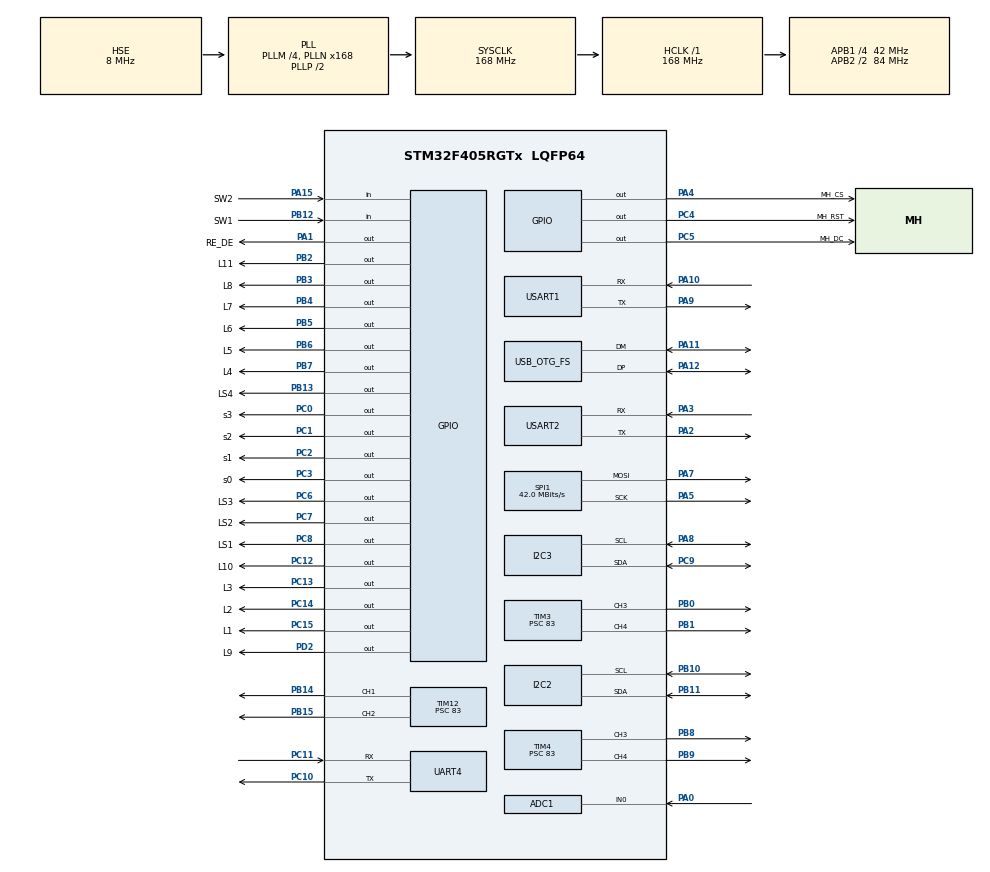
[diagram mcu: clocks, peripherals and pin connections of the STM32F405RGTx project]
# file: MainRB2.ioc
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ADC1.Channel-0\#ChannelRegularConversion=ADC_CHANNEL_0
ADC1.NbrOfConversionFlag=1
ADC1.Rank-0\#ChannelRegularConversion=1
ADC1.SamplingTime-0\#ChannelRegularConversion=ADC_SAMPLETIME_84CYCLES
ADC1.master=1
Dma.ADC1.0.Direction=DMA_PERIPH_TO_MEMORY
Dma.ADC1.0.FIFOMode=DMA_FIFOMODE_DISABLE
Dma.ADC1.0.Instance=DMA2_Stream0
Dma.ADC1.0.MemDataAlignment=DMA_MDATAALIGN_HALFWORD
Dma.ADC1.0.MemInc=DMA_MINC_DISABLE
Dma.ADC1.0.Mode=DMA_NORMAL
Dma.ADC1.0.PeriphDataAlignment=DMA_PDATAALIGN_HALFWORD
Dma.ADC1.0.PeriphInc=DMA_PINC_DISABLE
Dma.ADC1.0.Priority=DMA_PRIORITY_VERY_HIGH
Dma.Request0=ADC1
Dma.Request1=UART4_RX
Dma.Request2=UART4_TX
Dma.Request3=USART2_RX
Dma.Request4=USART2_TX
Dma.UART4_RX.1.Direction=DMA_PERIPH_TO_MEMORY
Dma.UART4_RX.1.FIFOMode=DMA_FIFOMODE_DISABLE
Dma.UART4_RX.1.Instance=DMA1_Stream2
Dma.UART4_RX.1.MemDataAlignment=DMA_MDATAALIGN_BYTE
Dma.UART4_RX.1.MemInc=DMA_MINC_ENABLE
Dma.UART4_RX.1.Mode=DMA_CIRCULAR
Dma.UART4_RX.1.PeriphDataAlignment=DMA_PDATAALIGN_BYTE
Dma.UART4_RX.1.PeriphInc=DMA_PINC_DISABLE
Dma.UART4_RX.1.Priority=DMA_PRIORITY_MEDIUM
Dma.UART4_TX.2.Direction=DMA_MEMORY_TO_PERIPH
Dma.UART4_TX.2.FIFOMode=DMA_FIFOMODE_DISABLE
Dma.UART4_TX.2.Instance=DMA1_Stream4
Dma.UART4_TX.2.MemDataAlignment=DMA_MDATAALIGN_BYTE
Dma.UART4_TX.2.MemInc=DMA_MINC_ENABLE
Dma.UART4_TX.2.Mode=DMA_NORMAL
Dma.UART4_TX.2.PeriphDataAlignment=DMA_PDATAALIGN_BYTE
Dma.UART4_TX.2.PeriphInc=DMA_PINC_DISABLE
Dma.UART4_TX.2.Priority=DMA_PRIORITY_LOW
Dma.USART2_RX.3.Direction=DMA_PERIPH_TO_MEMORY
Dma.USART2_RX.3.FIFOMode=DMA_FIFOMODE_DISABLE
Dma.USART2_RX.3.Instance=DMA1_Stream5
Dma.USART2_RX.3.MemDataAlignment=DMA_MDATAALIGN_BYTE
Dma.USART2_RX.3.MemInc=DMA_MINC_ENABLE
Dma.USART2_RX.3.Mode=DMA_CIRCULAR
Dma.USART2_RX.3.PeriphDataAlignment=DMA_PDATAALIGN_BYTE
Dma.USART2_RX.3.PeriphInc=DMA_PINC_DISABLE
Dma.USART2_RX.3.Priority=DMA_PRIORITY_MEDIUM
Dma.USART2_TX.4.Direction=DMA_MEMORY_TO_PERIPH
Dma.USART2_TX.4.FIFOMode=DMA_FIFOMODE_DISABLE
Dma.USART2_TX.4.Instance=DMA1_Stream6
Dma.USART2_TX.4.MemDataAlignment=DMA_MDATAALIGN_BYTE
Dma.USART2_TX.4.MemInc=DMA_MINC_ENABLE
Dma.USART2_TX.4.Mode=DMA_NORMAL
Dma.USART2_TX.4.PeriphDataAlignment=DMA_PDATAALIGN_BYTE
Dma.USART2_TX.4.PeriphInc=DMA_PINC_DISABLE
Dma.USART2_TX.4.Priority=DMA_PRIORITY_LOW
Mcu.Family=STM32F4
Mcu.Name=STM32F405RGTx
Mcu.Package=LQFP64
NVIC.DMA2_Stream0_IRQn=true\:1\:0\:false\:false\:true\:false\:true\:true
NVIC.PriorityGroup=NVIC_PRIORITYGROUP_4
NVIC.DMA1_Stream2_IRQn=true\:3\:0\:false\:false\:true\:false\:true\:true
NVIC.DMA1_Stream4_IRQn=true\:3\:0\:false\:false\:true\:false\:true\:true
NVIC.DMA1_Stream5_IRQn=true\:1\:0\:false\:false\:true\:false\:true\:true
NVIC.DMA1_Stream6_IRQn=true\:1\:0\:false\:false\:true\:false\:true\:true
NVIC.TIM7_IRQn=true\:2\:0\:false\:false\:true\:true\:true\:true
NVIC.UART4_IRQn=true\:3\:0\:false\:false\:true\:false\:true\:true
NVIC.USART2_IRQn=true\:1\:0\:false\:false\:true\:false\:true\:true
PA0-WKUP.Signal=ADCx_IN0
PA1.GPIO_Label=RE_DE
PA1.GPIO_PuPd=GPIO_NOPULL
PA1.GPIO_Speed=GPIO_SPEED_FREQ_HIGH
PA1.PinState=GPIO_PIN_RESET
PA1.Signal=GPIO_Output
PA10.Mode=Asynchronous
PA10.Signal=USART1_RX
PA11.Mode=Device_Only
PA11.Signal=USB_OTG_FS_DM
PA12.Mode=Device_Only
PA12.Signal=USB_OTG_FS_DP
PA13.Mode=Serial_Wire
PA13.Signal=SYS_JTMS-SWDIO
PA14.Mode=Serial_Wire
PA14.Signal=SYS_JTCK-SWCLK
PA15.GPIO_Label=SW2
PA15.Signal=GPIO_Input
PA2.Mode=Asynchronous
PA2.Signal=USART2_TX
PA3.Mode=Asynchronous
PA3.Signal=USART2_RX
PA4.GPIO_Label=MH_CS
PA4.GPIO_Speed=GPIO_SPEED_FREQ_HIGH
PA4.PinState=GPIO_PIN_SET
PA4.Signal=GPIO_Output
PA5.Mode=TX_Only_Simplex_Unidirect_Master
PA5.Signal=SPI1_SCK
PA7.Mode=TX_Only_Simplex_Unidirect_Master
PA7.Signal=SPI1_MOSI
PA8.Mode=I2C
PA8.Signal=I2C3_SCL
PA9.Mode=Asynchronous
PA9.Signal=USART1_TX
PB0.Signal=S_TIM3_CH3
PB1.Signal=S_TIM3_CH4
PB10.Mode=I2C
PB10.Signal=I2C2_SCL
PB11.Mode=I2C
PB11.Signal=I2C2_SDA
PB12.GPIO_Label=SW1
PB12.Signal=GPIO_Input
PB13.GPIO_Label=LS4
PB13.PinState=GPIO_PIN_RESET
PB13.Signal=GPIO_Output
PB14.Signal=S_TIM12_CH1
PB15.Signal=S_TIM12_CH2
PB2.GPIO_Label=L11
PB2.PinState=GPIO_PIN_SET
PB2.Signal=GPIO_Output
PB3.GPIO_Label=L8
PB3.PinState=GPIO_PIN_SET
PB3.Signal=GPIO_Output
PB4.GPIO_Label=L7
PB4.PinState=GPIO_PIN_SET
PB4.Signal=GPIO_Output
PB5.GPIO_Label=L6
PB5.PinState=GPIO_PIN_SET
PB5.Signal=GPIO_Output
PB6.GPIO_Label=L5
PB6.PinState=GPIO_PIN_SET
PB6.Signal=GPIO_Output
PB7.GPIO_Label=L4
PB7.PinState=GPIO_PIN_SET
PB7.Signal=GPIO_Output
PB8.Signal=S_TIM4_CH3
PB9.Signal=S_TIM4_CH4
PC0.GPIO_Label=s3
PC0.GPIO_Speed=GPIO_SPEED_FREQ_VERY_HIGH
PC0.PinState=GPIO_PIN_RESET
PC0.Signal=GPIO_Output
PC1.GPIO_Label=s2
PC1.GPIO_Speed=GPIO_SPEED_FREQ_VERY_HIGH
PC1.PinState=GPIO_PIN_RESET
PC1.Signal=GPIO_Output
PC10.Mode=Asynchronous
PC10.Signal=UART4_TX
PC11.Mode=Asynchronous
PC11.Signal=UART4_RX
PC12.GPIO_Label=L10
PC12.PinState=GPIO_PIN_SET
PC12.Signal=GPIO_Output
PC13-ANTI_TAMP.GPIO_Label=L3
PC13-ANTI_TAMP.PinState=GPIO_PIN_SET
PC13-ANTI_TAMP.Signal=GPIO_Output
PC14-OSC32_IN.GPIO_Label=L2
PC14-OSC32_IN.PinState=GPIO_PIN_SET
PC14-OSC32_IN.Signal=GPIO_Output
PC15-OSC32_OUT.GPIO_Label=L1
PC15-OSC32_OUT.PinState=GPIO_PIN_SET
PC15-OSC32_OUT.Signal=GPIO_Output
PC2.GPIO_Label=s1
PC2.GPIO_Speed=GPIO_SPEED_FREQ_VERY_HIGH
PC2.PinState=GPIO_PIN_RESET
PC2.Signal=GPIO_Output
PC3.GPIO_Label=s0
PC3.GPIO_Speed=GPIO_SPEED_FREQ_VERY_HIGH
PC3.PinState=GPIO_PIN_RESET
PC3.Signal=GPIO_Output
PC4.GPIO_Label=MH_RST
PC4.GPIO_Speed=GPIO_SPEED_FREQ_LOW
PC4.PinState=GPIO_PIN_SET
PC4.Signal=GPIO_Output
PC5.GPIO_Label=MH_DC
PC5.GPIO_Speed=GPIO_SPEED_FREQ_HIGH
PC5.PinState=GPIO_PIN_RESET
PC5.Signal=GPIO_Output
PC6.GPIO_Label=LS3
PC6.PinState=GPIO_PIN_RESET
PC6.Signal=GPIO_Output
PC7.GPIO_Label=LS2
PC7.PinState=GPIO_PIN_RESET
PC7.Signal=GPIO_Output
PC8.GPIO_Label=LS1
PC8.PinState=GPIO_PIN_RESET
PC8.Signal=GPIO_Output
PC9.Mode=I2C
PC9.Signal=I2C3_SDA
PD2.GPIO_Label=L9
PD2.PinState=GPIO_PIN_SET
PD2.Signal=GPIO_Output
PH0-OSC_IN.Mode=HSE-External-Oscillator
PH0-OSC_IN.Signal=RCC_OSC_IN
PH1-OSC_OUT.Mode=HSE-External-Oscillator
PH1-OSC_OUT.Signal=RCC_OSC_OUT
ProjectManager.HeapSize=0x200
ProjectManager.StackSize=0x400
ProjectManager.TargetToolchain=STM32CubeIDE
RCC.48MHZClocksFreq_Value=48000000
RCC.AHBFreq_Value=168000000
RCC.APB1CLKDivider=RCC_HCLK_DIV4
RCC.APB1Freq_Value=42000000
RCC.APB1TimFreq_Value=84000000
RCC.APB2CLKDivider=RCC_HCLK_DIV2
RCC.APB2Freq_Value=84000000
RCC.APB2TimFreq_Value=168000000
RCC.CortexFreq_Value=168000000
RCC.HCLKFreq_Value=168000000
RCC.HSE_VALUE=8000000
RCC.HSI_VALUE=16000000
RCC.LSE_VALUE=32768
RCC.PLLM=4
RCC.PLLN=168
RCC.PLLQ=7
RCC.SYSCLKFreq_VALUE=168000000
RCC.SYSCLKSource=RCC_SYSCLKSOURCE_PLLCLK
RCC.VCOOutputFreq_Value=336000000
SH.ADCx_IN0.0=ADC1_IN0,IN0
SH.S_TIM12_CH1.0=TIM12_CH1,PWM Generation1 CH1
SH.S_TIM12_CH2.0=TIM12_CH2,PWM Generation2 CH2
SH.S_TIM3_CH3.0=TIM3_CH3,PWM Generation3 CH3
SH.S_TIM3_CH4.0=TIM3_CH4,PWM Generation4 CH4
SH.S_TIM4_CH3.0=TIM4_CH3,PWM Generation3 CH3
SH.S_TIM4_CH4.0=TIM4_CH4,PWM Generation4 CH4
SPI1.CalculateBaudRate=42.0 MBits/s
SPI1.Direction=SPI_DIRECTION_2LINES
SPI1.Mode=SPI_MODE_MASTER
SPI1.VirtualType=VM_MASTER
TIM12.Channel-PWM\ Generation1\ CH1=TIM_CHANNEL_1
TIM12.Channel-PWM\ Generation2\ CH2=TIM_CHANNEL_2
TIM12.AutoReloadPreload=TIM_AUTORELOAD_PRELOAD_ENABLE
TIM12.Period=19999
TIM12.Prescaler=83
TIM3.Channel-PWM\ Generation3\ CH3=TIM_CHANNEL_3
TIM3.Channel-PWM\ Generation4\ CH4=TIM_CHANNEL_4
TIM3.AutoReloadPreload=TIM_AUTORELOAD_PRELOAD_ENABLE
TIM3.Period=19999
TIM3.Prescaler=83
TIM4.Channel-PWM\ Generation3\ CH3=TIM_CHANNEL_3
TIM4.Channel-PWM\ Generation4\ CH4=TIM_CHANNEL_4
TIM4.AutoReloadPreload=TIM_AUTORELOAD_PRELOAD_ENABLE
TIM4.Period=19999
TIM4.Prescaler=83
TIM7.Period=99
TIM7.Prescaler=83
UART4.VirtualMode=Asynchronous
USART1.VirtualMode=VM_ASYNC
USART2.VirtualMode=VM_ASYNC
USB_OTG_FS.VirtualMode=Device_Only
VP_TIM7_VS_ClockSourceINT.Mode=Enable_Timer
board=custom

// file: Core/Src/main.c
/* USER CODE BEGIN Header */
/**
  ******************************************************************************
  * @file           : main.c
  * @brief          : Main program body
  ******************************************************************************
  * @attention
  *
  * Copyright (c) 2026 STMicroelectronics.
  * All rights reserved.
  *
  * This software is licensed under terms that can be found in the LICENSE file
  * in the root directory of this software component.
  * If no LICENSE file comes with this software, it is provided AS-IS.
  *
  ******************************************************************************
  */
/* USER CODE END Header */
#include "main.h"

/* USER CODE BEGIN Includes */
#include "cd4067.h"
#include "bno055.h"
#include "bno055_stm32.h"
#include "servo.h"
#include "buttons.h"
#include "rf_hc12.h"
#include "rs485_bus.h"
#include "drive_kinematics.h"
/* USER CODE END Includes */

/* USER CODE BEGIN PTD */
typedef enum
{
  MAINRB2_DRIVE_IDLE        = 0U,
  MAINRB2_DRIVE_MANUAL_VEL  = 1U,
  MAINRB2_DRIVE_LINE_FOLLOW = 2U
} MainRB2_DriveMode_t;
/* USER CODE END PTD */

/* USER CODE BEGIN PD */
#define RS485_TX_PERIOD_MS      10U
#define RS485_WHEEL_TIMEOUT_MS  250U
/* USER CODE END PD */

ADC_HandleTypeDef hadc1;
DMA_HandleTypeDef hdma_adc1;

I2C_HandleTypeDef hi2c2;
I2C_HandleTypeDef hi2c3;

SPI_HandleTypeDef hspi1;

TIM_HandleTypeDef htim3;
TIM_HandleTypeDef htim4;
TIM_HandleTypeDef htim7;
TIM_HandleTypeDef htim12;

UART_HandleTypeDef huart4;
UART_HandleTypeDef huart1;
UART_HandleTypeDef huart2;
DMA_HandleTypeDef hdma_uart4_rx;
DMA_HandleTypeDef hdma_uart4_tx;
DMA_HandleTypeDef hdma_usart2_rx;
DMA_HandleTypeDef hdma_usart2_tx;

PCD_HandleTypeDef hpcd_USB_OTG_FS;

/* USER CODE BEGIN PV */
BNO055_IMU_t g_imu = {0};
RF_HC12_t g_rf = {0};
RF_PayloadManualToAuto_t g_manual_msg = {0};
bool g_manual_link_ok = false;
uint8_t g_front_mask = 0U;
uint8_t g_rear_mask = 0U;
int16_t g_front_error = 0;
int16_t g_rear_error = 0;
RS485_Bus_t g_rs485 = {0};
RS485_Telem_t g_wheel_telem[DRIVE_DIFF_WHEEL_COUNT] = {0};
bool g_wheel_alive[DRIVE_DIFF_WHEEL_COUNT] = {false};
static uint32_t g_wheel_rx_ms[DRIVE_DIFF_WHEEL_COUNT] = {0};
static bool g_wheel_seen[DRIVE_DIFF_WHEEL_COUNT] = {false};
static uint8_t g_rs485_poll_idx = 0U;
static uint32_t g_last_rs485_tx_ms = 0U;
static MainRB2_DriveMode_t g_drive_mode = MAINRB2_DRIVE_IDLE;
static int16_t g_cmd_linear_rpm_x10 = 0;
static int16_t g_cmd_angular_rpm_x10 = 0;
static int16_t g_line_base_rpm_x10 = 0;
static Drive_LineFollowState_t g_line_state = {0};
static const Drive_LineGains_t g_line_gains =
{
  DRIVE_LINE_KP_DEFAULT,
  DRIVE_LINE_KD_DEFAULT,
  DRIVE_LINE_LOSS_TIMEOUT_MS,
  DRIVE_DEFAULT_MAX_RPMX10
};
static bool g_estop_latched = false;
static bool g_clear_faults_pending = false;
static uint32_t g_last_imu_tick_ms = 0U;
/* USER CODE END PV */

void SystemClock_Config(void);
static void MX_GPIO_Init(void);
static void MX_DMA_Init(void);
static void MX_ADC1_Init(void);
static void MX_I2C2_Init(void);
static void MX_I2C3_Init(void);
static void MX_SPI1_Init(void);
static void MX_USART1_UART_Init(void);
static void MX_USART2_UART_Init(void);
static void MX_UART4_Init(void);
static void MX_USB_OTG_FS_PCD_Init(void);
static void MX_TIM3_Init(void);
static void MX_TIM12_Init(void);
static void MX_TIM4_Init(void);
static void MX_TIM7_Init(void);
/* USER CODE BEGIN PFP */
static void main_on_rs485_rx(RS485_Bus_t *bus, const RS485_Frame_t *frame, void *ctx);
/* USER CODE END PFP */

/* USER CODE BEGIN 0 */
static void main_on_rs485_rx(RS485_Bus_t *bus, const RS485_Frame_t *frame, void *ctx)
{
  (void)ctx;
  if ((bus == NULL) || (frame == NULL))
  {
    return;
  }

  if (frame->msg_type == (uint8_t)RS485_MSG_TELEM)
  {
    RS485_Telem_t telem;
    if (RS485_DecodeTelem(frame, &telem) &&
        (telem.node_id >= RS485_ADDR_SLAVE_MIN) &&
        (telem.node_id <= DRIVE_DIFF_WHEEL_COUNT))
    {
      uint8_t idx = (uint8_t)(telem.node_id - 1U);
      g_wheel_telem[idx] = telem;
      g_wheel_rx_ms[idx] = bus->last_rx_tick_ms;
      g_wheel_seen[idx] = true;
    }
  }
}

void MainRB2_SetDriveCommand(int16_t linear_rpm_x10, int16_t angular_rpm_x10)
{
  g_cmd_linear_rpm_x10 = linear_rpm_x10;
  g_cmd_angular_rpm_x10 = angular_rpm_x10;
  g_drive_mode = ((linear_rpm_x10 == 0) && (angular_rpm_x10 == 0))
                   ? MAINRB2_DRIVE_IDLE
                   : MAINRB2_DRIVE_MANUAL_VEL;
}

void MainRB2_EnableLineFollow(bool enable, int16_t base_rpm_x10)
{
  if (enable)
  {
    if (g_drive_mode != MAINRB2_DRIVE_LINE_FOLLOW)
    {
      Drive_LineFollowReset(&g_line_state);
    }
    g_line_base_rpm_x10 = base_rpm_x10;
    g_drive_mode = MAINRB2_DRIVE_LINE_FOLLOW;
  }
  else
  {
    g_drive_mode = MAINRB2_DRIVE_IDLE;
    g_line_base_rpm_x10 = 0;
    g_cmd_linear_rpm_x10 = 0;
    g_cmd_angular_rpm_x10 = 0;
    Drive_LineFollowReset(&g_line_state);
  }
}

void MainRB2_SetEstop(bool estop)
{
  g_estop_latched = estop;
  if (estop)
  {
    g_cmd_linear_rpm_x10 = 0;
    g_cmd_angular_rpm_x10 = 0;
    Drive_LineFollowReset(&g_line_state);
    Servo_StopAll360();
  }
}

void MainRB2_ClearWheelFaults(void)
{
  g_estop_latched = false;
  g_clear_faults_pending = true;
}
/* USER CODE END 0 */

int main(void)
{

  /* MCU Configuration--------------------------------------------------------*/

  /* Reset of all peripherals, Initializes the Flash interface and the Systick. */
  HAL_Init();

  /* Configure the system clock */
  SystemClock_Config();

  /* Initialize all configured peripherals */
  MX_GPIO_Init();
  MX_DMA_Init();
  MX_ADC1_Init();
  MX_I2C2_Init();
  MX_I2C3_Init();
  MX_SPI1_Init();
  MX_USART1_UART_Init();
  MX_USART2_UART_Init();
  MX_UART4_Init();
  MX_USB_OTG_FS_PCD_Init();
  MX_TIM3_Init();
  MX_TIM12_Init();
  MX_TIM4_Init();
  MX_TIM7_Init();
  /* USER CODE BEGIN 2 */
  /* Half-duplex RS-485 Master on USART2 + PA1 RE/DE for 2 diff wheels (PidBoard IDs 1..2) */
  RS485_Init(&g_rs485, &huart2, RE_DE_GPIO_Port, RE_DE_Pin, RS485_ADDR_MASTER);
  RS485_SetRxCallback(&g_rs485, main_on_rs485_rx, NULL);
  if (RS485_StartRx(&g_rs485) != HAL_OK)
  {
    Error_Handler();
  }
  Drive_LineFollowReset(&g_line_state);

  /* Autonomous 2x8 dual-end line array on CD4067 (Front = I0..I7, Rear = I8..I15)
   * with 11-LED L1..L11 encoding (default AUTO_ALT 600ms Front/Rear + summary LEDs L9..L11). */
  CD4067_Init(&hadc1, &htim7);
  if (CD4067_StartLine2x8(CD4067_DEFAULT_THRESHOLD) != HAL_OK)
  {
    Error_Handler();
  }

  /* Onboard switches SW1 (PB12) & SW2 (PA15): external +5V/+3V3 FT-safe inputs */
  Buttons_Init(true, true);

  /* Dual-mode servo driver across 6 PWM channels (CH1..3 = 0-270 deg, CH4..6 = 360 continuous) */
  if (Servo_Init(&htim3, &htim4, &htim12) != HAL_OK)
  {
    Error_Handler();
  }
  (void)Servo_Config270(SERVO_CH_1, SERVO_PWM_MIN_US, SERVO_PWM_MAX_US, false);
  (void)Servo_Config270(SERVO_CH_2, SERVO_PWM_MIN_US, SERVO_PWM_MAX_US, false);
  (void)Servo_Config270(SERVO_CH_3, SERVO_PWM_MIN_US, SERVO_PWM_MAX_US, false);
  (void)Servo_Config360(SERVO_CH_4, SERVO_PWM_NEUTRAL_US, SERVO_360_DEFAULT_HALF_SPAN_US,
                        SERVO_DEFAULT_DEADBAND_PCT, false);
  (void)Servo_Config360(SERVO_CH_5, SERVO_PWM_NEUTRAL_US, SERVO_360_DEFAULT_HALF_SPAN_US,
                        SERVO_DEFAULT_DEADBAND_PCT, false);
  (void)Servo_Config360(SERVO_CH_6, SERVO_PWM_NEUTRAL_US, SERVO_360_DEFAULT_HALF_SPAN_US,
                        SERVO_DEFAULT_DEADBAND_PCT, false);

  /* HC-12 RF link (Autonomous Robot = RF_NODE_AUTO):
   * STRICT source whitelist = RF_SRC_MASK(RF_NODE_MANUAL) ONLY.
   * Frames from RF_NODE_TDK (handheld controller) are rejected and discarded. */
  RF_HC12_Init(&g_rf, &huart4, NULL, 0U, RF_NODE_AUTO, RF_SRC_MASK(RF_NODE_MANUAL));
  (void)RF_HC12_SetupRoutine(&g_rf, RF_HC12_DEFAULT_CHANNEL, RF_HC12_DEFAULT_BAUD);
  if (RF_HC12_StartRx(&g_rf) != HAL_OK)
  {
    Error_Handler();
  }

  /* Wait for BNO055 POR (up to 750 ms) and start NDOF fusion on I2C3 (PA8/PC9) */
  BNO055_IMU_Init(&g_imu, &hi2c3);
  g_last_imu_tick_ms = HAL_GetTick();
  g_last_rs485_tx_ms = g_last_imu_tick_ms;
  /* USER CODE END 2 */

  /* Infinite loop */
  while (1)
  {

    /* USER CODE BEGIN 3 */
    uint32_t now_ms = HAL_GetTick();
    RF_Frame_t rx_frame;

    /* 1. Drain UART4 circular DMA RX; strictly accepts RF_NODE_MANUAL, blocks RF_NODE_TDK */
    RF_HC12_ProcessRx(&g_rf, now_ms);
    if (RF_HC12_PopLatestFrame(&g_rf, &rx_frame))
    {
      (void)RF_HC12_DecodeManualToAuto(&rx_frame, &g_manual_msg);
    }

    g_manual_link_ok = RF_HC12_IsLinkAlive(&g_rf, now_ms, RF_HC12_DEFAULT_TIMEOUT_MS);
    if (!g_manual_link_ok)
    {
      Servo_StopAll360();
    }

    /* 2. Drain USART2 RS-485 DMA RX telemetry & maintain wheel liveness */
    RS485_ProcessRx(&g_rs485, now_ms);
    RS485_TickMs(&g_rs485, now_ms);
    for (uint8_t i = 0U; i < DRIVE_DIFF_WHEEL_COUNT; i++)
    {
      g_wheel_alive[i] = g_wheel_seen[i] &&
                         ((uint32_t)(now_ms - g_wheel_rx_ms[i]) <= RS485_WHEEL_TIMEOUT_MS);
    }

    /* 3. SW1 cycles 11-LED 2x8 view mode; SW2 recalibrates 16 line sensors + clears faults */
    Buttons_Update(now_ms);
    if (Buttons_ConsumePressed(BTN_SW1))
    {
      (void)CD4067_CycleLedViewMode();
    }
    if (Buttons_ConsumePressed(BTN_SW2))
    {
      CD4067_StartCalibration();
      MainRB2_ClearWheelFaults();
    }

    /* 4. Snapshot Front (I0..I7) and Rear (I8..I15) line state & drive L1..L11 */
    g_front_mask  = CD4067_GetFrontMask();
    g_rear_mask   = CD4067_GetRearMask();
    g_front_error = CD4067_GetFrontError();
    g_rear_error  = CD4067_GetRearError();
    CD4067_UpdateLeds(now_ms);

    /* 5. 100 Hz (10 ms) 2-wheel differential drive kinematics & RS-485 TDMA poll (IDs 1..2) */
    if ((uint32_t)(now_ms - g_last_rs485_tx_ms) >= RS485_TX_PERIOD_MS)
    {
      g_last_rs485_tx_ms = now_ms;

      uint8_t modes[DRIVE_DIFF_WHEEL_COUNT] = {0};
      int16_t targets[DRIVE_DIFF_WHEEL_COUNT] = {0};

      if (g_drive_mode == MAINRB2_DRIVE_LINE_FOLLOW)
      {
        uint8_t active_mask = (g_line_base_rpm_x10 >= 0) ? g_front_mask : g_rear_mask;
        int16_t line_err    = (g_line_base_rpm_x10 >= 0) ? g_front_error : g_rear_error;
        Drive_LineFollowStep(&g_line_state,
                             &g_line_gains,
                             CD4067_IsCalibrated(),
                             g_line_base_rpm_x10,
                             active_mask,
                             line_err,
                             now_ms,
                             g_estop_latched,
                             modes,
                             targets);
      }
      else if (g_drive_mode == MAINRB2_DRIVE_MANUAL_VEL)
      {
        Drive_DiffCompute(g_cmd_linear_rpm_x10,
                          g_cmd_angular_rpm_x10,
                          DRIVE_DEFAULT_MAX_RPMX10,
                          g_estop_latched,
                          modes,
                          targets);
      }
      else
      {
        /* Boot default MAINRB2_DRIVE_IDLE: hold active brake without moving off manual RF traffic */
        Drive_DiffCompute(0, 0, DRIVE_DEFAULT_MAX_RPMX10, g_estop_latched, modes, targets);
      }

      RS485_MultiCmd_t mcmd = {0};
      mcmd.num_wheels = DRIVE_DIFF_WHEEL_COUNT;
      mcmd.poll_id    = (uint8_t)(g_rs485_poll_idx + 1U);
      g_rs485_poll_idx = (uint8_t)((g_rs485_poll_idx + 1U) % DRIVE_DIFF_WHEEL_COUNT);
      mcmd.flags      = (g_estop_latched ? RS485_CMD_FLAG_ESTOP : 0U) |
                        (g_clear_faults_pending ? RS485_CMD_FLAG_CLEAR_FAULTS : 0U);
      for (uint8_t i = 0U; i < DRIVE_DIFF_WHEEL_COUNT; i++)
      {
        mcmd.wheels[i].mode   = modes[i];
        mcmd.wheels[i].target = targets[i];
      }

      if (RS485_SendMultiCmd(&g_rs485, &mcmd, now_ms) == HAL_OK)
      {
        g_clear_faults_pending = false;
      }
    }

    /* 6. Poll BNO055 at 100 Hz (10 ms) */
    if ((uint32_t)(now_ms - g_last_imu_tick_ms) >= 10U)
    {
      g_last_imu_tick_ms = now_ms;
      if (g_imu.connected)
      {
        BNO055_IMU_Update(&g_imu);
      }
    }
  }
  /* USER CODE END 3 */
}

void SystemClock_Config(void)
{
  RCC_OscInitTypeDef RCC_OscInitStruct = {0};
  RCC_ClkInitTypeDef RCC_ClkInitStruct = {0};

  /** Configure the main internal regulator output voltage
  */
  __HAL_RCC_PWR_CLK_ENABLE();
  __HAL_PWR_VOLTAGESCALING_CONFIG(PWR_REGULATOR_VOLTAGE_SCALE1);

  /** Initializes the RCC Oscillators according to the specified parameters
  * in the RCC_OscInitTypeDef structure.
  */
  RCC_OscInitStruct.OscillatorType = RCC_OSCILLATORTYPE_HSE;
  RCC_OscInitStruct.HSEState = RCC_HSE_ON;
  RCC_OscInitStruct.PLL.PLLState = RCC_PLL_ON;
  RCC_OscInitStruct.PLL.PLLSource = RCC_PLLSOURCE_HSE;
  RCC_OscInitStruct.PLL.PLLM = 4;
  RCC_OscInitStruct.PLL.PLLN = 168;
  RCC_OscInitStruct.PLL.PLLP = RCC_PLLP_DIV2;
  RCC_OscInitStruct.PLL.PLLQ = 7;
  if (HAL_RCC_OscConfig(&RCC_OscInitStruct) != HAL_OK)
  {
    Error_Handler();
  }

  /** Initializes the CPU, AHB and APB buses clocks
  */
  RCC_ClkInitStruct.ClockType = RCC_CLOCKTYPE_HCLK|RCC_CLOCKTYPE_SYSCLK
                              |RCC_CLOCKTYPE_PCLK1|RCC_CLOCKTYPE_PCLK2;
  RCC_ClkInitStruct.SYSCLKSource = RCC_SYSCLKSOURCE_PLLCLK;
  RCC_ClkInitStruct.AHBCLKDivider = RCC_SYSCLK_DIV1;
  RCC_ClkInitStruct.APB1CLKDivider = RCC_HCLK_DIV4;
  RCC_ClkInitStruct.APB2CLKDivider = RCC_HCLK_DIV2;

  if (HAL_RCC_ClockConfig(&RCC_ClkInitStruct, FLASH_LATENCY_5) != HAL_OK)
  {
    Error_Handler();
  }
}

static void MX_ADC1_Init(void)
{

  ADC_ChannelConfTypeDef sConfig = {0};

  /** Configure the global features of the ADC (Clock, Resolution, Data Alignment and number of conversion)
  */
  hadc1.Instance = ADC1;
  hadc1.Init.ClockPrescaler = ADC_CLOCK_SYNC_PCLK_DIV4;
  hadc1.Init.Resolution = ADC_RESOLUTION_12B;
  hadc1.Init.ScanConvMode = DISABLE;
  hadc1.Init.ContinuousConvMode = DISABLE;
  hadc1.Init.DiscontinuousConvMode = DISABLE;
  hadc1.Init.ExternalTrigConvEdge = ADC_EXTERNALTRIGCONVEDGE_NONE;
  hadc1.Init.ExternalTrigConv = ADC_SOFTWARE_START;
  hadc1.Init.DataAlign = ADC_DATAALIGN_RIGHT;
  hadc1.Init.NbrOfConversion = 1;
  hadc1.Init.DMAContinuousRequests = DISABLE;
  hadc1.Init.EOCSelection = ADC_EOC_SINGLE_CONV;
  if (HAL_ADC_Init(&hadc1) != HAL_OK)
  {
    Error_Handler();
  }

  /** Configure for the selected ADC regular channel its corresponding rank in the sequencer and its sample time.
  */
  sConfig.Channel = ADC_CHANNEL_0;
  sConfig.Rank = 1;
  sConfig.SamplingTime = ADC_SAMPLETIME_84CYCLES;
  if (HAL_ADC_ConfigChannel(&hadc1, &sConfig) != HAL_OK)
  {
    Error_Handler();
  }

}

static void MX_I2C2_Init(void)
{

  hi2c2.Instance = I2C2;
  hi2c2.Init.ClockSpeed = 100000;
  hi2c2.Init.DutyCycle = I2C_DUTYCYCLE_2;
  hi2c2.Init.OwnAddress1 = 0;
  hi2c2.Init.AddressingMode = I2C_ADDRESSINGMODE_7BIT;
  hi2c2.Init.DualAddressMode = I2C_DUALADDRESS_DISABLE;
  hi2c2.Init.OwnAddress2 = 0;
  hi2c2.Init.GeneralCallMode = I2C_GENERALCALL_DISABLE;
  hi2c2.Init.NoStretchMode = I2C_NOSTRETCH_DISABLE;
  if (HAL_I2C_Init(&hi2c2) != HAL_OK)
  {
    Error_Handler();
  }

}

static void MX_I2C3_Init(void)
{

  hi2c3.Instance = I2C3;
  hi2c3.Init.ClockSpeed = 100000;
  hi2c3.Init.DutyCycle = I2C_DUTYCYCLE_2;
  hi2c3.Init.OwnAddress1 = 0;
  hi2c3.Init.AddressingMode = I2C_ADDRESSINGMODE_7BIT;
  hi2c3.Init.DualAddressMode = I2C_DUALADDRESS_DISABLE;
  hi2c3.Init.OwnAddress2 = 0;
  hi2c3.Init.GeneralCallMode = I2C_GENERALCALL_DISABLE;
  hi2c3.Init.NoStretchMode = I2C_NOSTRETCH_DISABLE;
  if (HAL_I2C_Init(&hi2c3) != HAL_OK)
  {
    Error_Handler();
  }

}

static void MX_SPI1_Init(void)
{

  /* SPI1 parameter configuration*/
  hspi1.Instance = SPI1;
  hspi1.Init.Mode = SPI_MODE_MASTER;
  hspi1.Init.Direction = SPI_DIRECTION_2LINES;
  hspi1.Init.DataSize = SPI_DATASIZE_8BIT;
  hspi1.Init.CLKPolarity = SPI_POLARITY_LOW;
  hspi1.Init.CLKPhase = SPI_PHASE_1EDGE;
  hspi1.Init.NSS = SPI_NSS_SOFT;
  hspi1.Init.BaudRatePrescaler = SPI_BAUDRATEPRESCALER_2;
  hspi1.Init.FirstBit = SPI_FIRSTBIT_MSB;
  hspi1.Init.TIMode = SPI_TIMODE_DISABLE;
  hspi1.Init.CRCCalculation = SPI_CRCCALCULATION_DISABLE;
  hspi1.Init.CRCPolynomial = 10;
  if (HAL_SPI_Init(&hspi1) != HAL_OK)
  {
    Error_Handler();
  }

}

static void MX_TIM3_Init(void)
{

  TIM_MasterConfigTypeDef sMasterConfig = {0};
  TIM_OC_InitTypeDef sConfigOC = {0};

  htim3.Instance = TIM3;
  htim3.Init.Prescaler = 83;
  htim3.Init.CounterMode = TIM_COUNTERMODE_UP;
  htim3.Init.Period = 19999;
  htim3.Init.ClockDivision = TIM_CLOCKDIVISION_DIV1;
  htim3.Init.AutoReloadPreload = TIM_AUTORELOAD_PRELOAD_ENABLE;
  if (HAL_TIM_PWM_Init(&htim3) != HAL_OK)
  {
    Error_Handler();
  }
  sMasterConfig.MasterOutputTrigger = TIM_TRGO_RESET;
  sMasterConfig.MasterSlaveMode = TIM_MASTERSLAVEMODE_DISABLE;
  if (HAL_TIMEx_MasterConfigSynchronization(&htim3, &sMasterConfig) != HAL_OK)
  {
    Error_Handler();
  }
  sConfigOC.OCMode = TIM_OCMODE_PWM1;
  sConfigOC.Pulse = 0;
  sConfigOC.OCPolarity = TIM_OCPOLARITY_HIGH;
  sConfigOC.OCFastMode = TIM_OCFAST_DISABLE;
  if (HAL_TIM_PWM_ConfigChannel(&htim3, &sConfigOC, TIM_CHANNEL_3) != HAL_OK)
  {
    Error_Handler();
  }
  if (HAL_TIM_PWM_ConfigChannel(&htim3, &sConfigOC, TIM_CHANNEL_4) != HAL_OK)
  {
    Error_Handler();
  }
  HAL_TIM_MspPostInit(&htim3);

}

static void MX_TIM4_Init(void)
{

  TIM_MasterConfigTypeDef sMasterConfig = {0};
  TIM_OC_InitTypeDef sConfigOC = {0};

  htim4.Instance = TIM4;
  htim4.Init.Prescaler = 83;
  htim4.Init.CounterMode = TIM_COUNTERMODE_UP;
  htim4.Init.Period = 19999;
  htim4.Init.ClockDivision = TIM_CLOCKDIVISION_DIV1;
  htim4.Init.AutoReloadPreload = TIM_AUTORELOAD_PRELOAD_ENABLE;
  if (HAL_TIM_PWM_Init(&htim4) != HAL_OK)
  {
    Error_Handler();
  }
  sMasterConfig.MasterOutputTrigger = TIM_TRGO_RESET;
  sMasterConfig.MasterSlaveMode = TIM_MASTERSLAVEMODE_DISABLE;
  if (HAL_TIMEx_MasterConfigSynchronization(&htim4, &sMasterConfig) != HAL_OK)
  {
    Error_Handler();
  }
  sConfigOC.OCMode = TIM_OCMODE_PWM1;
  sConfigOC.Pulse = 0;
  sConfigOC.OCPolarity = TIM_OCPOLARITY_HIGH;
  sConfigOC.OCFastMode = TIM_OCFAST_DISABLE;
  if (HAL_TIM_PWM_ConfigChannel(&htim4, &sConfigOC, TIM_CHANNEL_3) != HAL_OK)
  {
    Error_Handler();
  }
  if (HAL_TIM_PWM_ConfigChannel(&htim4, &sConfigOC, TIM_CHANNEL_4) != HAL_OK)
  {
    Error_Handler();
  }
  HAL_TIM_MspPostInit(&htim4);

}

static void MX_TIM7_Init(void)
{

  TIM_MasterConfigTypeDef sMasterConfig = {0};

  htim7.Instance = TIM7;
  htim7.Init.Prescaler = 83;
  htim7.Init.CounterMode = TIM_COUNTERMODE_UP;
  htim7.Init.Period = 99;
  htim7.Init.AutoReloadPreload = TIM_AUTORELOAD_PRELOAD_DISABLE;
  if (HAL_TIM_Base_Init(&htim7) != HAL_OK)
  {
    Error_Handler();
  }
  sMasterConfig.MasterOutputTrigger = TIM_TRGO_RESET;
  sMasterConfig.MasterSlaveMode = TIM_MASTERSLAVEMODE_DISABLE;
  if (HAL_TIMEx_MasterConfigSynchronization(&htim7, &sMasterConfig) != HAL_OK)
  {
    Error_Handler();
  }

}

static void MX_TIM12_Init(void)
{

  TIM_OC_InitTypeDef sConfigOC = {0};

  htim12.Instance = TIM12;
  htim12.Init.Prescaler = 83;
  htim12.Init.CounterMode = TIM_COUNTERMODE_UP;
  htim12.Init.Period = 19999;
  htim12.Init.ClockDivision = TIM_CLOCKDIVISION_DIV1;
  htim12.Init.AutoReloadPreload = TIM_AUTORELOAD_PRELOAD_ENABLE;
  if (HAL_TIM_PWM_Init(&htim12) != HAL_OK)
  {
    Error_Handler();
  }
  sConfigOC.OCMode = TIM_OCMODE_PWM1;
  sConfigOC.Pulse = 0;
  sConfigOC.OCPolarity = TIM_OCPOLARITY_HIGH;
  sConfigOC.OCFastMode = TIM_OCFAST_DISABLE;
  if (HAL_TIM_PWM_ConfigChannel(&htim12, &sConfigOC, TIM_CHANNEL_1) != HAL_OK)
  {
    Error_Handler();
  }
  if (HAL_TIM_PWM_ConfigChannel(&htim12, &sConfigOC, TIM_CHANNEL_2) != HAL_OK)
  {
    Error_Handler();
  }
  HAL_TIM_MspPostInit(&htim12);

}

static void MX_UART4_Init(void)
{

  huart4.Instance = UART4;
  huart4.Init.BaudRate = 115200;
  huart4.Init.WordLength = UART_WORDLENGTH_8B;
  huart4.Init.StopBits = UART_STOPBITS_1;
  huart4.Init.Parity = UART_PARITY_NONE;
  huart4.Init.Mode = UART_MODE_TX_RX;
  huart4.Init.HwFlowCtl = UART_HWCONTROL_NONE;
  huart4.Init.OverSampling = UART_OVERSAMPLING_16;
  if (HAL_UART_Init(&huart4) != HAL_OK)
  {
    Error_Handler();
  }

}

static void MX_USART1_UART_Init(void)
{

  huart1.Instance = USART1;
  huart1.Init.BaudRate = 115200;
  huart1.Init.WordLength = UART_WORDLENGTH_8B;
  huart1.Init.StopBits = UART_STOPBITS_1;
  huart1.Init.Parity = UART_PARITY_NONE;
  huart1.Init.Mode = UART_MODE_TX_RX;
  huart1.Init.HwFlowCtl = UART_HWCONTROL_NONE;
  huart1.Init.OverSampling = UART_OVERSAMPLING_16;
  if (HAL_UART_Init(&huart1) != HAL_OK)
  {
    Error_Handler();
  }

}

static void MX_USART2_UART_Init(void)
{

  huart2.Instance = USART2;
  huart2.Init.BaudRate = 115200;
  huart2.Init.WordLength = UART_WORDLENGTH_8B;
  huart2.Init.StopBits = UART_STOPBITS_1;
  huart2.Init.Parity = UART_PARITY_NONE;
  huart2.Init.Mode = UART_MODE_TX_RX;
  huart2.Init.HwFlowCtl = UART_HWCONTROL_NONE;
  huart2.Init.OverSampling = UART_OVERSAMPLING_16;
  if (HAL_UART_Init(&huart2) != HAL_OK)
  {
    Error_Handler();
  }

}

static void MX_USB_OTG_FS_PCD_Init(void)
{

  hpcd_USB_OTG_FS.Instance = USB_OTG_FS;
  hpcd_USB_OTG_FS.Init.dev_endpoints = 4;
  hpcd_USB_OTG_FS.Init.speed = PCD_SPEED_FULL;
  hpcd_USB_OTG_FS.Init.dma_enable = DISABLE;
  hpcd_USB_OTG_FS.Init.phy_itface = PCD_PHY_EMBEDDED;
  hpcd_USB_OTG_FS.Init.Sof_enable = DISABLE;
  hpcd_USB_OTG_FS.Init.low_power_enable = DISABLE;
  hpcd_USB_OTG_FS.Init.lpm_enable = DISABLE;
  hpcd_USB_OTG_FS.Init.vbus_sensing_enable = DISABLE;
  hpcd_USB_OTG_FS.Init.use_dedicated_ep1 = DISABLE;
  if (HAL_PCD_Init(&hpcd_USB_OTG_FS) != HAL_OK)
  {
    Error_Handler();
  }

}

static void MX_DMA_Init(void)
{

  /* DMA controller clock enable */
  __HAL_RCC_DMA2_CLK_ENABLE();
  __HAL_RCC_DMA1_CLK_ENABLE();

  /* DMA interrupt init */
  /* DMA1_Stream2_IRQn interrupt configuration */
  HAL_NVIC_SetPriority(DMA1_Stream2_IRQn, 3, 0);
  HAL_NVIC_EnableIRQ(DMA1_Stream2_IRQn);
  /* DMA1_Stream4_IRQn interrupt configuration */
  HAL_NVIC_SetPriority(DMA1_Stream4_IRQn, 3, 0);
  HAL_NVIC_EnableIRQ(DMA1_Stream4_IRQn);
  /* DMA1_Stream5_IRQn interrupt configuration */
  HAL_NVIC_SetPriority(DMA1_Stream5_IRQn, 1, 0);
  HAL_NVIC_EnableIRQ(DMA1_Stream5_IRQn);
  /* DMA1_Stream6_IRQn interrupt configuration */
  HAL_NVIC_SetPriority(DMA1_Stream6_IRQn, 1, 0);
  HAL_NVIC_EnableIRQ(DMA1_Stream6_IRQn);
  /* DMA2_Stream0_IRQn interrupt configuration */
  HAL_NVIC_SetPriority(DMA2_Stream0_IRQn, 1, 0);
  HAL_NVIC_EnableIRQ(DMA2_Stream0_IRQn);

}

static void MX_GPIO_Init(void)
{
  GPIO_InitTypeDef GPIO_InitStruct = {0};

  /* GPIO Ports Clock Enable */
  __HAL_RCC_GPIOC_CLK_ENABLE();
  __HAL_RCC_GPIOH_CLK_ENABLE();
  __HAL_RCC_GPIOA_CLK_ENABLE();
  __HAL_RCC_GPIOB_CLK_ENABLE();
  __HAL_RCC_GPIOD_CLK_ENABLE();

  /*Configure GPIO pin Output Level */
  HAL_GPIO_WritePin(GPIOC, L3_Pin|L2_Pin|L1_Pin|MH_RST_Pin
                          |L10_Pin, GPIO_PIN_SET);

  /*Configure GPIO pin Output Level */
  HAL_GPIO_WritePin(GPIOC, s3_Pin|s2_Pin|s1_Pin|s0_Pin
                          |MH_DC_Pin|LS3_Pin|LS2_Pin|LS1_Pin, GPIO_PIN_RESET);

  /*Configure GPIO pin Output Level */
  HAL_GPIO_WritePin(RE_DE_GPIO_Port, RE_DE_Pin, GPIO_PIN_RESET);

  /*Configure GPIO pin Output Level */
  HAL_GPIO_WritePin(MH_CS_GPIO_Port, MH_CS_Pin, GPIO_PIN_SET);

  /*Configure GPIO pin Output Level */
  HAL_GPIO_WritePin(GPIOB, L11_Pin|L8_Pin|L7_Pin|L6_Pin
                          |L5_Pin|L4_Pin, GPIO_PIN_SET);

  /*Configure GPIO pin Output Level */
  HAL_GPIO_WritePin(LS4_GPIO_Port, LS4_Pin, GPIO_PIN_RESET);

  /*Configure GPIO pin Output Level */
  HAL_GPIO_WritePin(L9_GPIO_Port, L9_Pin, GPIO_PIN_SET);

  /*Configure GPIO pins : L3_Pin L2_Pin L1_Pin MH_RST_Pin
                           LS3_Pin LS2_Pin LS1_Pin L10_Pin */
  GPIO_InitStruct.Pin = L3_Pin|L2_Pin|L1_Pin|MH_RST_Pin
                          |LS3_Pin|LS2_Pin|LS1_Pin|L10_Pin;
  GPIO_InitStruct.Mode = GPIO_MODE_OUTPUT_PP;
  GPIO_InitStruct.Pull = GPIO_NOPULL;
  GPIO_InitStruct.Speed = GPIO_SPEED_FREQ_LOW;
  HAL_GPIO_Init(GPIOC, &GPIO_InitStruct);

  /*Configure GPIO pins : s3_Pin s2_Pin s1_Pin s0_Pin */
  GPIO_InitStruct.Pin = s3_Pin|s2_Pin|s1_Pin|s0_Pin;
  GPIO_InitStruct.Mode = GPIO_MODE_OUTPUT_PP;
  GPIO_InitStruct.Pull = GPIO_NOPULL;
  GPIO_InitStruct.Speed = GPIO_SPEED_FREQ_VERY_HIGH;
  HAL_GPIO_Init(GPIOC, &GPIO_InitStruct);

  /*Configure GPIO pins : RE_DE_Pin MH_CS_Pin */
  GPIO_InitStruct.Pin = RE_DE_Pin|MH_CS_Pin;
  GPIO_InitStruct.Mode = GPIO_MODE_OUTPUT_PP;
  GPIO_InitStruct.Pull = GPIO_NOPULL;
  GPIO_InitStruct.Speed = GPIO_SPEED_FREQ_HIGH;
  HAL_GPIO_Init(GPIOA, &GPIO_InitStruct);

  /*Configure GPIO pin : MH_DC_Pin */
  GPIO_InitStruct.Pin = MH_DC_Pin;
  GPIO_InitStruct.Mode = GPIO_MODE_OUTPUT_PP;
  GPIO_InitStruct.Pull = GPIO_NOPULL;
  GPIO_InitStruct.Speed = GPIO_SPEED_FREQ_HIGH;
  HAL_GPIO_Init(MH_DC_GPIO_Port, &GPIO_InitStruct);

  /*Configure GPIO pins : L11_Pin LS4_Pin L8_Pin L7_Pin
                           L6_Pin L5_Pin L4_Pin */
  GPIO_InitStruct.Pin = L11_Pin|LS4_Pin|L8_Pin|L7_Pin
                          |L6_Pin|L5_Pin|L4_Pin;
  GPIO_InitStruct.Mode = GPIO_MODE_OUTPUT_PP;
  GPIO_InitStruct.Pull = GPIO_NOPULL;
  GPIO_InitStruct.Speed = GPIO_SPEED_FREQ_LOW;
  HAL_GPIO_Init(GPIOB, &GPIO_InitStruct);

  /*Configure GPIO pin : SW1_Pin */
  GPIO_InitStruct.Pin = SW1_Pin;
  GPIO_InitStruct.Mode = GPIO_MODE_INPUT;
  GPIO_InitStruct.Pull = GPIO_NOPULL;
  HAL_GPIO_Init(SW1_GPIO_Port, &GPIO_InitStruct);

  /*Configure GPIO pin : SW2_Pin */
  GPIO_InitStruct.Pin = SW2_Pin;
  GPIO_InitStruct.Mode = GPIO_MODE_INPUT;
  GPIO_InitStruct.Pull = GPIO_NOPULL;
  HAL_GPIO_Init(SW2_GPIO_Port, &GPIO_InitStruct);

  /*Configure GPIO pin : L9_Pin */
  GPIO_InitStruct.Pin = L9_Pin;
  GPIO_InitStruct.Mode = GPIO_MODE_OUTPUT_PP;
  GPIO_InitStruct.Pull = GPIO_NOPULL;
  GPIO_InitStruct.Speed = GPIO_SPEED_FREQ_LOW;
  HAL_GPIO_Init(L9_GPIO_Port, &GPIO_InitStruct);

}

/* USER CODE BEGIN 4 */
void HAL_TIM_PeriodElapsedCallback(TIM_HandleTypeDef *htim)
{
  CD4067_TIM_PeriodElapsedCallback(htim);
}

void HAL_ADC_ConvCpltCallback(ADC_HandleTypeDef *hadc)
{
  CD4067_ADC_ConvCpltCallback(hadc);
}

void HAL_UART_TxCpltCallback(UART_HandleTypeDef *huart)
{
  RS485_TxCpltCallback(&g_rs485, huart);
}

void HAL_UART_ErrorCallback(UART_HandleTypeDef *huart)
{
  RF_HC12_UartErrorCallback(&g_rf, huart);
  RS485_UartErrorCallback(&g_rs485, huart);
}
/* USER CODE END 4 */

void Error_Handler(void)
{
  __disable_irq();
  while (1)
  {
  }
}
